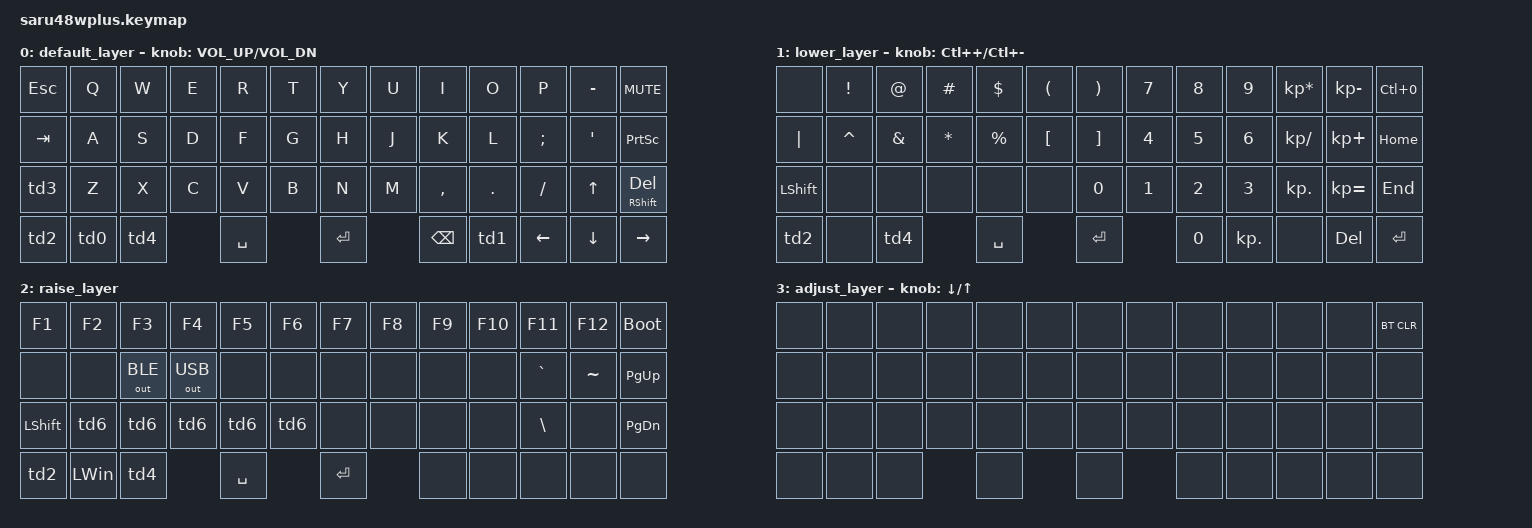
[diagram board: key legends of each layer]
/*
 * Copyright (c) 2023 Salvatore La Bua
 *
 * SPDX-License-Identifier: MIT
 */

#include <behaviors.dtsi>
#include <dt-bindings/zmk/bt.h>
#include <dt-bindings/zmk/keys.h>
#include <dt-bindings/zmk/outputs.h>

/* Layers */

#define DEFAULT 0
#define LOWER   1
#define RAISE   2
#define ADJUST  3

/ {
    combos {
        compatible = "zmk,combos";

        combo_ret {
            timeout-ms = <50>;
            key-positions = <24 25>;
            bindings = <&kp RET>;
            layers = <DEFAULT>;
        };

        combo_bsp {
            timeout-ms = <50>;
            key-positions = <10 11>;
            bindings = <&kp BSPC>;
            layers = <DEFAULT>;
        };

        combo_adj {
            timeout-ms = <50>;
            key-positions = <26 40>;
            bindings = <&mo ADJUST>;
            layers = <DEFAULT>;
        };
    };

    behaviors {
        td0: Lower_LGUI {
            compatible = "zmk,behavior-tap-dance";
            #binding-cells = <0>;
            tapping-term-ms = <300>;
            bindings = <&mo LOWER>, <&kp LWIN>;
        };

        td1: Raise_RALT {
            compatible = "zmk,behavior-tap-dance";
            #binding-cells = <0>;
            tapping-term-ms = <200>;
            bindings = <&mo RAISE>, <&kp RALT>;
        };

        td2: LALT_RGUI {
            compatible = "zmk,behavior-tap-dance";
            #binding-cells = <0>;
            tapping-term-ms = <200>;
            bindings = <&kp LALT>, <&kp RWIN>;
        };

        td3: LSFT_SysREQ {
            compatible = "zmk,behavior-tap-dance";
            #binding-cells = <0>;
            tapping-term-ms = <200>;
            bindings = <&kp LSHIFT>, <&kp SYSREQ>;
        };

        td4: LCTRL_APP {
            compatible = "zmk,behavior-tap-dance";
            #binding-cells = <0>;
            tapping-term-ms = <200>;
            bindings = <&kp LCTRL>, <&kp K_APP>;
        };

        td5: BSPC_DEL {
            compatible = "zmk,behavior-tap-dance";
            #binding-cells = <0>;
            tapping-term-ms = <150>;
            bindings = <&kp BSPC>, <&kp DEL>;
        };

        td6: BT0_DISC0 {
            compatible = "zmk,behavior-tap-dance";
            #binding-cells = <0>;
            tapping-term-ms = <200>;
            bindings = <&bt BT_SEL 0>, <&bt BT_DISC 0>;
        };

        td7: BT1_DISC1 {
            compatible = "zmk,behavior-tap-dance";
            #binding-cells = <0>;
            tapping-term-ms = <200>;
            bindings = <&bt BT_SEL 1>, <&bt BT_DISC 1>;
        };

        td8: BT2_DISC2 {
            compatible = "zmk,behavior-tap-dance";
            #binding-cells = <0>;
            tapping-term-ms = <200>;
            bindings = <&bt BT_SEL 2>, <&bt BT_DISC 2>;
        };

        td9: BT3_DISC3 {
            compatible = "zmk,behavior-tap-dance";
            #binding-cells = <0>;
            tapping-term-ms = <200>;
            bindings = <&bt BT_SEL 3>, <&bt BT_DISC 3>;
        };

        td10: BT4_DISC4 {
            compatible = "zmk,behavior-tap-dance";
            #binding-cells = <0>;
            tapping-term-ms = <200>;
            bindings = <&bt BT_SEL 4>, <&bt BT_DISC 4>;
        };

        ht0: hold_tap_0 {
            compatible = "zmk,behavior-hold-tap";
            bindings = <&kp>, <&kp>;

            #binding-cells = <2>;
            tapping-term-ms = <200>;
            #quick-tap-ms = <200>;
            require-prior-idle-ms = <125>;
        };
    };

    keymap {
        compatible = "zmk,keymap";

        default_layer {
            // -----------------------------------------------------------------------------------------------------------------------------------
            // |   ESC   |    Q    |    W    |    E    |    R    |    T    |    Y    |    U    |    I    |    O    |    P    |    -    |  MUTE   |
            // |   TAB   |    A    |    S    |    D    |    F    |    G    |    H    |    J    |    K    |    L    |    ;    |    '    |  PRINT  |
            // |LSHF/SYSR|    Z    |    X    |    C    |    V    |    B    |    N    |    M    |    ,    |    .    |    /    |   UP    |RSHFT/DEL|
            // |LALT/RWIN|LOWR/LWIN|LCTRL/APP|         |  SPACE  |         | RETURN  |         |  BKSPC  |RAIS/RALT|  LEFT   |  DOWN   |  RIGHT  |
            // -----------------------------------------------------------------------------------------------------------------------------------

            bindings = <
&kp ESC  &kp Q  &kp W  &kp E  &kp R      &kp T  &kp Y    &kp U  &kp I      &kp O    &kp P     &kp MINUS  &kp C_MUTE
&kp TAB  &kp A  &kp S  &kp D  &kp F      &kp G  &kp H    &kp J  &kp K      &kp L    &kp SEMI  &kp SQT    &kp PSCRN
&td3     &kp Z  &kp X  &kp C  &kp V      &kp B  &kp N    &kp M  &kp COMMA  &kp DOT  &kp FSLH  &kp UP     &ht0 RSHIFT DEL
&td2     &td0   &td4          &kp SPACE         &kp RET         &kp BSPC   &td1     &kp LEFT  &kp DOWN   &kp RIGHT
            >;

            sensor-bindings = <&inc_dec_kp C_VOL_UP C_VOL_DN>;
        };

        lower_layer {
            // -----------------------------------------------------------------------------------------------------------------------------------
            // |         |    !    |    @    |    #    |    $    |    (    |    )    |    7    |    8    |    9    |    *    |    -    |ZOOMRESET|
            // |    |    |    ^    |    &    |    *    |    %    |    [    |    ]    |    4    |    5    |    6    |    /    |    +    |  HOME   |
            // | LSHIFT  |         |         |         |         |         |    0    |    1    |    2    |    3    |    .    |    =    |   END   |
            // |LALT/RWIN|  XXXXX  |LCTRL/APP|         |  SPACE  |         | RETURN  |         |    0    |    .    |         |   DEL   | RETURN  |
            // -----------------------------------------------------------------------------------------------------------------------------------

            bindings = <
&none       &kp EXCL   &kp AT    &kp HASH  &kp DLLR   &kp LPAR  &kp RPAR  &kp N7  &kp N8  &kp N9      &kp KP_ASTERISK  &kp KP_MINUS  &kp LC(N0)
&kp PIPE    &kp CARET  &kp AMPS  &kp STAR  &kp PRCNT  &kp LBKT  &kp RBKT  &kp N4  &kp N5  &kp N6      &kp KP_SLASH     &kp KP_PLUS   &kp HOME
&kp LSHIFT  &none      &none     &none     &none      &none     &kp N0    &kp N1  &kp N2  &kp N3      &kp KP_DOT       &kp KP_EQUAL  &kp END
&td2        &none      &td4                &kp SPACE            &kp RET           &kp N0  &kp KP_DOT  &none            &kp DEL       &kp RET
            >;

            sensor-bindings = <&inc_dec_kp LC(PLUS) LC(MINUS)>;
        };

        raise_layer {
            // -----------------------------------------------------------------------------------------------------------------------------------
            // |   F1    |   F2    |   F3    |   F4    |   F5    |   F6    |   F7    |   F8    |   F9    |   F10   |   F11   |   F12   | BOOTLDR |
            // |         |         | OUT-BLE | OUT-USB |         |         |         |         |         |         |    `    |    ~    |  PgUP   |
            // | LSHIFT  |BT1/DISC |BT2/DISC |BT3/DISC |BT4/DISC |BT5/DISC |         |         |         |         |    \    |         |  PgDN   |
            // |LALT/RWIN|  LWIN   |LCTRL/APP|         |  SPACE  |         | RETURN  |         |         |  XXXXX  |         |         |         |
            // -----------------------------------------------------------------------------------------------------------------------------------

            bindings = <
&kp F1      &kp F2    &kp F3        &kp F4        &kp F5     &kp F6  &kp F7   &kp F8  &kp F9  &kp F10  &kp F11    &kp F12    &bootloader
&none       &none     &out OUT_BLE  &out OUT_USB  &none      &none   &none    &none   &none   &none    &kp GRAVE  &kp TILDE  &kp PG_UP
&kp LSHIFT  &td6      &td6          &td6          &td6       &td6    &none    &none   &none   &none    &kp BSLH   &none      &kp PG_DN
&td2        &kp LWIN  &td4                        &kp SPACE          &kp RET          &none   &none    &none      &none      &none
            >;
        };

        adjust_layer {
            // -----------------------------------------------------------------------------------------------------------------------------------
            // |         |         |         |         |         |         |         |         |         |         |         |         | BT CLR  |
            // |         |         |         |         |         |         |         |         |         |         |         |         |         |
            // |         |         |         |         |         |         |         |         |         |         |         |         |         |
            // |         |         |         |         |         |         |         |         |         |         |         |         |         |
            // -----------------------------------------------------------------------------------------------------------------------------------

            bindings = <
&none  &none  &none  &none  &none  &none  &none  &none  &none  &none  &none  &none  &bt BT_CLR
&none  &none  &none  &none  &none  &none  &none  &none  &none  &none  &none  &none  &none
&none  &none  &none  &none  &none  &none  &none  &none  &none  &none  &none  &none  &none
&none  &none  &none         &none         &none         &none  &none  &none  &none  &none
            >;

            sensor-bindings = <&inc_dec_kp DOWN UP>;
        };
    };
};
